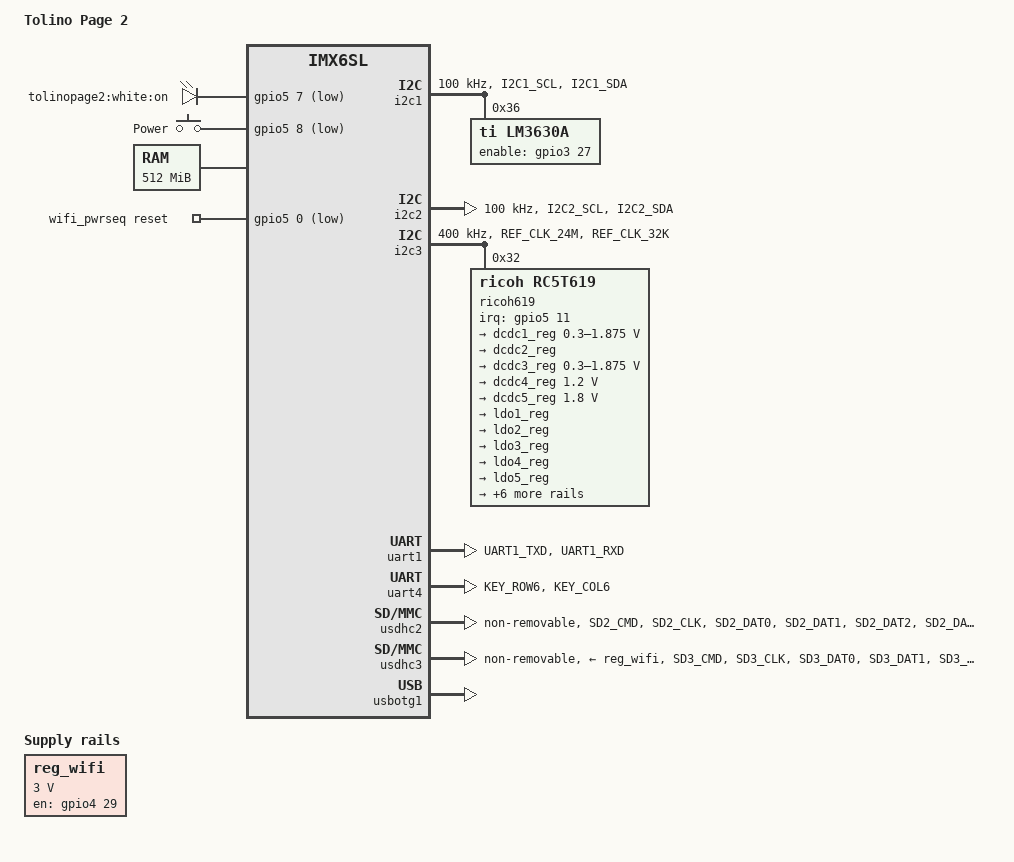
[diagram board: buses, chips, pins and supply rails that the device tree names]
// SPDX-License-Identifier: (GPL-2.0)
/*
 * Device tree for the tolino page 2 ebook reader.
 *
 * Mainboard identification number: 37NB-E60QV0+4A2
 * The mainboard uses a i.MX6SL
 *
 * based on work in imx6sl-tolino-shine3.dts and e60k02.dtsi
 * Copyright 2019 Andreas Kemnade
 * based on works
 * Copyright 2016 Freescale Semiconductor, Inc.
 */

/dts-v1/;

#include <dt-bindings/input/input.h>
#include <dt-bindings/gpio/gpio.h>
#include "imx6sl.dtsi"

/ {
	model = "Tolino Page 2";
	compatible = "kobo,tolino-page2", "fsl,imx6sl";

	aliases {
		mmc0 = &usdhc2;
		mmc1 = &usdhc3;
	};

	chosen {
		stdout-path = &uart1;
	};

	leds: leds {
		compatible = "gpio-leds";

		on {
			label = "tolinopage2:white:on";
			gpios = <&gpio5 7 GPIO_ACTIVE_LOW>;
			linux,default-trigger = "timer";
		};
	};

	gpio_keys: gpio-keys {
		compatible = "gpio-keys";

		power {
			label = "Power";
			gpios = <&gpio5 8 GPIO_ACTIVE_LOW>;
			linux,code = <KEY_POWER>;
			wakeup-source;
		};
	};

	memory@80000000 {
		device_type = "memory";
		reg = <0x80000000 0x20000000>;
	};

	reg_wifi: regulator-wifi {
		compatible = "regulator-fixed";
		regulator-name = "SD3_SPWR";
		regulator-min-microvolt = <3000000>;
		regulator-max-microvolt = <3000000>;
		gpio = <&gpio4 29 GPIO_ACTIVE_HIGH>;
		enable-active-high;
	};

	wifi_pwrseq: wifi_pwrseq {
		compatible = "mmc-pwrseq-simple";
		post-power-on-delay-ms = <20>;
		reset-gpios = <&gpio5 0 GPIO_ACTIVE_LOW>;
	};
};

&gpio_keys {
	pinctrl-names = "default";
	pinctrl-0 = <&pinctrl_gpio_keys>;
};

&i2c1 {
	clock-frequency = <100000>;
	pinctrl-names = "default","sleep";
	pinctrl-0 = <&pinctrl_i2c1>;
	pinctrl-1 = <&pinctrl_i2c1_sleep>;
	status = "okay";

	/* single color ? */
	lm3630a: backlight@36 {
		compatible = "ti,lm3630a";
		reg = <0x36>;
		pinctrl-names = "default";
		pinctrl-0 = <&pinctrl_lm3630a_bl_gpio>;
		enable-gpios = <&gpio3 27 GPIO_ACTIVE_HIGH>;

		#address-cells = <1>;
		#size-cells = <0>;

		led@0 {
			reg = <0>;
			led-sources = <0>;
			label = "backlight";
			default-brightness = <0>;
			max-brightness = <255>;
		};
	};
};

&i2c2 {
	pinctrl-names = "default","sleep";
	pinctrl-0 = <&pinctrl_i2c2>;
	pinctrl-1 = <&pinctrl_i2c2_sleep>;
	clock-frequency = <100000>;
	status = "okay";

	/* eKTF2232 at 0x15 */
	/* FP9928 at 0x48 */
};

&i2c3 {
	pinctrl-names = "default";
	pinctrl-0 = <&pinctrl_i2c3>;
	clock-frequency = <400000>;
	status = "okay";

	ricoh619: pmic@32 {
		compatible = "ricoh,rc5t619";
		pinctrl-names = "default";
		pinctrl-0 = <&pinctrl_ricoh_gpio>;
		reg = <0x32>;
		interrupt-parent = <&gpio5>;
		interrupts = <11 IRQ_TYPE_EDGE_FALLING>;
		system-power-controller;

		regulators {
			dcdc1_reg: DCDC1 {
				regulator-name = "DCDC1";
				regulator-min-microvolt = <300000>;
				regulator-max-microvolt = <1875000>;
				regulator-always-on;
				regulator-boot-on;

				regulator-state-mem {
					regulator-on-in-suspend;
					regulator-suspend-max-microvolt = <900000>;
					regulator-suspend-min-microvolt = <900000>;
				};
			};

			/* Core3_3V3 */
			dcdc2_reg: DCDC2 {
				regulator-name = "DCDC2";
				regulator-always-on;
				regulator-boot-on;

				regulator-state-mem {
					regulator-on-in-suspend;
					regulator-suspend-max-microvolt = <3100000>;
					regulator-suspend-min-microvolt = <3100000>;
				};
			};

			dcdc3_reg: DCDC3 {
				regulator-name = "DCDC3";
				regulator-min-microvolt = <300000>;
				regulator-max-microvolt = <1875000>;
				regulator-always-on;
				regulator-boot-on;

				regulator-state-mem {
					regulator-on-in-suspend;
					regulator-suspend-max-microvolt = <1140000>;
					regulator-suspend-min-microvolt = <1140000>;
				};
			};

			/* Core4_1V2 */
			dcdc4_reg: DCDC4 {
				regulator-name = "DCDC4";
				regulator-min-microvolt = <1200000>;
				regulator-max-microvolt = <1200000>;
				regulator-always-on;
				regulator-boot-on;

				regulator-state-mem {
					regulator-on-in-suspend;
					regulator-suspend-max-microvolt = <1140000>;
					regulator-suspend-min-microvolt = <1140000>;
				};
			};

			/* Core4_1V8 */
			dcdc5_reg: DCDC5 {
				regulator-name = "DCDC5";
				regulator-min-microvolt = <1800000>;
				regulator-max-microvolt = <1800000>;
				regulator-always-on;
				regulator-boot-on;

				regulator-state-mem {
					regulator-on-in-suspend;
					regulator-suspend-max-microvolt = <1700000>;
					regulator-suspend-min-microvolt = <1700000>;
				};
			};

			/* IR_3V3 */
			ldo1_reg: LDO1  {
				regulator-name = "LDO1";
				regulator-boot-on;
			};

			/* Core1_3V3 */
			ldo2_reg: LDO2  {
				regulator-name = "LDO2";
				regulator-always-on;
				regulator-boot-on;

				regulator-state-mem {
					regulator-on-in-suspend;
					regulator-suspend-max-microvolt = <3000000>;
					regulator-suspend-min-microvolt = <3000000>;
				};
			};

			/* Core5_1V2 */
			ldo3_reg: LDO3  {
				regulator-name = "LDO3";
				regulator-always-on;
				regulator-boot-on;
			};

			ldo4_reg: LDO4 {
				regulator-name = "LDO4";
				regulator-boot-on;
			};

			/* SPD_3V3 */
			ldo5_reg: LDO5 {
				regulator-name = "LDO5";
				regulator-always-on;
				regulator-boot-on;
			};

			/* DDR_0V6 */
			ldo6_reg: LDO6 {
				regulator-name = "LDO6";
				regulator-always-on;
				regulator-boot-on;
			};

			/* VDD_PWM */
			ldo7_reg: LDO7 {
				regulator-name = "LDO7";
				regulator-always-on;
				regulator-boot-on;
			};

			/* ldo_1v8 */
			ldo8_reg: LDO8 {
				regulator-name = "LDO8";
				regulator-min-microvolt = <1800000>;
				regulator-max-microvolt = <1800000>;
				regulator-always-on;
				regulator-boot-on;
			};

			ldo9_reg: LDO9 {
				regulator-name = "LDO9";
				regulator-boot-on;
			};

			ldo10_reg: LDO10 {
				regulator-name = "LDO10";
				regulator-boot-on;
			};

			ldortc1_reg: LDORTC1  {
				regulator-name = "LDORTC1";
				regulator-always-on;
				regulator-boot-on;
			};
		};
	};
};

&iomuxc {
	pinctrl-names = "default";
	pinctrl_gpio_keys: gpio-keysgrp {
		fsl,pins = <
			MX6SL_PAD_SD1_DAT1__GPIO5_IO08	0x17059	/* PWR_SW */
			MX6SL_PAD_SD1_DAT4__GPIO5_IO12	0x17059	/* HALL_EN */
		>;
	};

	pinctrl_i2c1: i2c1grp {
		fsl,pins = <
			MX6SL_PAD_I2C1_SCL__I2C1_SCL	 0x4001f8b1
			MX6SL_PAD_I2C1_SDA__I2C1_SDA	 0x4001f8b1
		>;
	};

	pinctrl_i2c1_sleep: i2c1grp-sleep {
		fsl,pins = <
			MX6SL_PAD_I2C1_SCL__I2C1_SCL	 0x400108b1
			MX6SL_PAD_I2C1_SDA__I2C1_SDA	 0x400108b1
		>;
	};

	pinctrl_i2c2: i2c2grp {
		fsl,pins = <
			MX6SL_PAD_I2C2_SCL__I2C2_SCL	 0x4001f8b1
			MX6SL_PAD_I2C2_SDA__I2C2_SDA	 0x4001f8b1
		>;
	};

	pinctrl_i2c2_sleep: i2c2grp-sleep {
		fsl,pins = <
			MX6SL_PAD_I2C2_SCL__I2C2_SCL	 0x400108b1
			MX6SL_PAD_I2C2_SDA__I2C2_SDA	 0x400108b1
		>;
	};

	pinctrl_i2c3: i2c3grp {
		fsl,pins = <
			MX6SL_PAD_REF_CLK_24M__I2C3_SCL  0x4001f8b1
			MX6SL_PAD_REF_CLK_32K__I2C3_SDA  0x4001f8b1
		>;
	};

	pinctrl_led: ledgrp {
		fsl,pins = <
			MX6SL_PAD_SD1_DAT6__GPIO5_IO07 0x17059
		>;
	};

	pinctrl_lm3630a_bl_gpio: lm3630a-bl-gpiogrp {
		fsl,pins = <
			MX6SL_PAD_EPDC_PWRCTRL3__GPIO2_IO10		0x10059 /* HWEN */
		>;
	};

	pinctrl_ricoh_gpio: ricoh_gpiogrp {
		fsl,pins = <
			MX6SL_PAD_SD1_CLK__GPIO5_IO15                  0x1b8b1 /* ricoh619 chg */
			MX6SL_PAD_SD1_DAT0__GPIO5_IO11        0x1b8b1 /* ricoh619 irq */
			MX6SL_PAD_KEY_COL2__GPIO3_IO28                         0x1b8b1 /* ricoh619 bat_low_int */
		>;
	};

	pinctrl_uart1: uart1grp {
		fsl,pins = <
			MX6SL_PAD_UART1_TXD__UART1_TX_DATA 0x1b0b1
			MX6SL_PAD_UART1_RXD__UART1_RX_DATA 0x1b0b1
		>;
	};

	pinctrl_uart4: uart4grp {
		fsl,pins = <
			MX6SL_PAD_KEY_ROW6__UART4_TX_DATA 0x1b0b1
			MX6SL_PAD_KEY_COL6__UART4_RX_DATA 0x1b0b1
		>;
	};

	pinctrl_usbotg1: usbotg1grp {
		fsl,pins = <
			MX6SL_PAD_EPDC_PWRCOM__USB_OTG1_ID 0x17059
		>;
	};

	pinctrl_usdhc2: usdhc2grp {
		fsl,pins = <
			MX6SL_PAD_SD2_CMD__SD2_CMD		0x17059
			MX6SL_PAD_SD2_CLK__SD2_CLK		0x13059
			MX6SL_PAD_SD2_DAT0__SD2_DATA0		0x17059
			MX6SL_PAD_SD2_DAT1__SD2_DATA1		0x17059
			MX6SL_PAD_SD2_DAT2__SD2_DATA2		0x17059
			MX6SL_PAD_SD2_DAT3__SD2_DATA3		0x17059
		>;
	};

	pinctrl_usdhc2_100mhz: usdhc2grp-100mhz {
		fsl,pins = <
			MX6SL_PAD_SD2_CMD__SD2_CMD		0x170b9
			MX6SL_PAD_SD2_CLK__SD2_CLK		0x130b9
			MX6SL_PAD_SD2_DAT0__SD2_DATA0		0x170b9
			MX6SL_PAD_SD2_DAT1__SD2_DATA1		0x170b9
			MX6SL_PAD_SD2_DAT2__SD2_DATA2		0x170b9
			MX6SL_PAD_SD2_DAT3__SD2_DATA3		0x170b9
		>;
	};

	pinctrl_usdhc2_200mhz: usdhc2grp-200mhz {
		fsl,pins = <
			MX6SL_PAD_SD2_CMD__SD2_CMD		0x170f9
			MX6SL_PAD_SD2_CLK__SD2_CLK		0x130f9
			MX6SL_PAD_SD2_DAT0__SD2_DATA0		0x170f9
			MX6SL_PAD_SD2_DAT1__SD2_DATA1		0x170f9
			MX6SL_PAD_SD2_DAT2__SD2_DATA2		0x170f9
			MX6SL_PAD_SD2_DAT3__SD2_DATA3		0x170f9
		>;
	};

	pinctrl_usdhc2_sleep: usdhc2grp-sleep {
		fsl,pins = <
			MX6SL_PAD_SD2_CMD__GPIO5_IO04		0x100f9
			MX6SL_PAD_SD2_CLK__GPIO5_IO05		0x100f9
			MX6SL_PAD_SD2_DAT0__GPIO5_IO01		0x100f9
			MX6SL_PAD_SD2_DAT1__GPIO4_IO30		0x100f9
			MX6SL_PAD_SD2_DAT2__GPIO5_IO03		0x100f9
			MX6SL_PAD_SD2_DAT3__GPIO4_IO28		0x100f9
		>;
	};

	pinctrl_usdhc3: usdhc3grp {
		fsl,pins = <
			MX6SL_PAD_SD3_CMD__SD3_CMD	0x11059
			MX6SL_PAD_SD3_CLK__SD3_CLK	0x11059
			MX6SL_PAD_SD3_DAT0__SD3_DATA0	0x11059
			MX6SL_PAD_SD3_DAT1__SD3_DATA1	0x11059
			MX6SL_PAD_SD3_DAT2__SD3_DATA2	0x11059
			MX6SL_PAD_SD3_DAT3__SD3_DATA3	0x11059
		>;
	};

	pinctrl_usdhc3_100mhz: usdhc3grp-100mhz {
		fsl,pins = <
			MX6SL_PAD_SD3_CMD__SD3_CMD	0x170b9
			MX6SL_PAD_SD3_CLK__SD3_CLK	0x170b9
			MX6SL_PAD_SD3_DAT0__SD3_DATA0	0x170b9
			MX6SL_PAD_SD3_DAT1__SD3_DATA1	0x170b9
			MX6SL_PAD_SD3_DAT2__SD3_DATA2	0x170b9
			MX6SL_PAD_SD3_DAT3__SD3_DATA3	0x170b9
		>;
	};

	pinctrl_usdhc3_200mhz: usdhc3grp-200mhz {
		fsl,pins = <
			MX6SL_PAD_SD3_CMD__SD3_CMD	0x170f9
			MX6SL_PAD_SD3_CLK__SD3_CLK	0x170f9
			MX6SL_PAD_SD3_DAT0__SD3_DATA0	0x170f9
			MX6SL_PAD_SD3_DAT1__SD3_DATA1	0x170f9
			MX6SL_PAD_SD3_DAT2__SD3_DATA2	0x170f9
			MX6SL_PAD_SD3_DAT3__SD3_DATA3	0x170f9
		>;
	};

	pinctrl_usdhc3_sleep: usdhc3grp-sleep {
		fsl,pins = <
			MX6SL_PAD_SD3_CMD__GPIO5_IO21	0x100c1
			MX6SL_PAD_SD3_CLK__GPIO5_IO18	0x100c1
			MX6SL_PAD_SD3_DAT0__GPIO5_IO19	0x100c1
			MX6SL_PAD_SD3_DAT1__GPIO5_IO20	0x100c1
			MX6SL_PAD_SD3_DAT2__GPIO5_IO16	0x100c1
			MX6SL_PAD_SD3_DAT3__GPIO5_IO17	0x100c1
		>;
	};

	pinctrl_wifi_power: wifi-powergrp {
		fsl,pins = <
			MX6SL_PAD_SD2_DAT6__GPIO4_IO29	0x10059	/* WIFI_3V3_ON */
		>;
	};

	pinctrl_wifi_reset: wifi-resetgrp {
		fsl,pins = <
			MX6SL_PAD_SD2_DAT7__GPIO5_IO00	0x10059	/* WIFI_RST */
		>;
	};
};

&reg_arm {
	vin-supply = <&dcdc3_reg>;
};

&reg_soc {
	vin-supply = <&dcdc1_reg>;
};

&reg_pu {
	vin-supply = <&dcdc1_reg>;
};

&snvs_rtc {
	/*
	 * We are using the RTC in the PMIC, but this one is not disabled
	 * in imx6sl.dtsi.
	 */
	status = "disabled";
};

&leds {
	pinctrl-names = "default";
	pinctrl-0 = <&pinctrl_led>;
};

&reg_wifi {
	pinctrl-names = "default";
	pinctrl-0 = <&pinctrl_wifi_power>;
};

&uart1 {
	pinctrl-names = "default";
	pinctrl-0 = <&pinctrl_uart1>;
};

&uart4 {
	pinctrl-names = "default";
	pinctrl-0 = <&pinctrl_uart4>;
};

&usdhc2 {
	pinctrl-names = "default", "state_100mhz", "state_200mhz", "sleep";
	pinctrl-0 = <&pinctrl_usdhc2>;
	pinctrl-1 = <&pinctrl_usdhc2_100mhz>;
	pinctrl-2 = <&pinctrl_usdhc2_200mhz>;
	pinctrl-3 = <&pinctrl_usdhc2_sleep>;
	non-removable;
	status = "okay";
};

&usdhc3 {
	pinctrl-names = "default", "state_100mhz", "state_200mhz", "sleep";
	pinctrl-0 = <&pinctrl_usdhc3>;
	pinctrl-1 = <&pinctrl_usdhc3_100mhz>;
	pinctrl-2 = <&pinctrl_usdhc3_200mhz>;
	pinctrl-3 = <&pinctrl_usdhc3_sleep>;
	vmmc-supply = <&reg_wifi>;
	mmc-pwrseq = <&wifi_pwrseq>;
	cap-power-off-card;
	non-removable;
	status = "okay";
};

&wifi_pwrseq {
	pinctrl-names = "default";
	pinctrl-0 = <&pinctrl_wifi_reset>;
};

&usbotg1 {
	pinctrl-names = "default";
	disable-over-current;
	srp-disable;
	hnp-disable;
	adp-disable;
	status = "okay";
};
